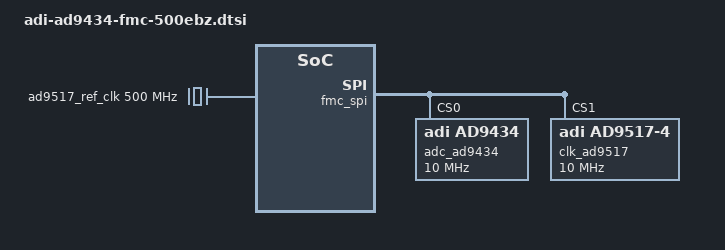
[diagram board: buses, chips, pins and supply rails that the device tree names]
/*
 * Analog Devices AD9434-FMC-500EBZ FPGA FMC Card
 */
/ {
	clocks {
		ad9517_ref_clk: clock@0 {
				#clock-cells = <0>;
				compatible = "fixed-clock";
				clock-frequency = <500000000>;
				clock-output-names = "ad9517_refclk";
		};
	};
};

&fmc_spi {
	adc_ad9434: ad9434@0 {
		#address-cells = <1>;
		#size-cells = <0>;
		compatible = "adi,ad9434";
		reg = <0>;
		spi-max-frequency = <10000000>;
		clocks = <&clk_ad9517 3>;
		clock-names = "adc_clk";

		adi,spi-3wire-enable;
	};

	clk_ad9517: ad9517@1 {
		#address-cells = <1>;
		#size-cells = <0>;
		#clock-cells = <1>;
		compatible = "adi,ad9517-4";
		reg = <1>;
		spi-max-frequency = <10000000>;
		clocks = <&ad9517_ref_clk>, <&ad9517_ref_clk>;
		clock-names = "refclk", "clkin";
		clock-output-names = "out0", "out1", "out2", "out3", "out4", "out5", "out6", "out7";
		firmware = "ad9467_intbypass_ad9517.stp";

		adi,spi-3wire-enable;
	};
};
